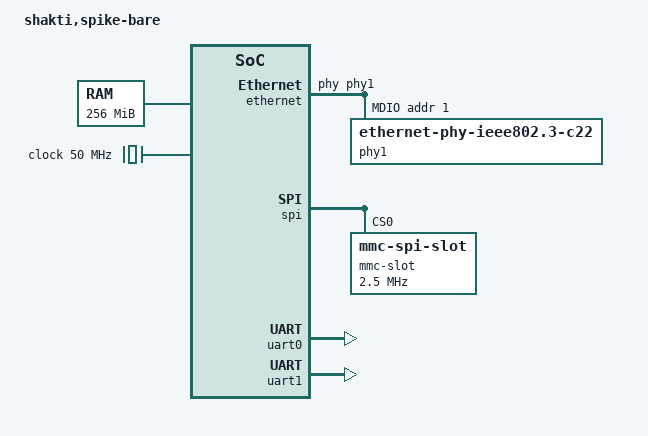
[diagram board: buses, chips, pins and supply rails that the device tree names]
/dts-v1/;

/ {
  #address-cells = <2>;
  #size-cells = <2>;
  compatible = "shakti,spike-bare-dev";
  model = "shakti,spike-bare";
  cpus {
    #address-cells = <1>;
    #size-cells = <0>;
    timebase-frequency = <32768>;
    CPU0: cpu@0 {
      device_type = "cpu";
      reg = <0>;
      status = "okay";
      compatible = "riscv";
      riscv,isa = "rv64imac";
      mmu-type = "riscv,sv39";
      clock-frequency = <50000000>;
      CPU0_intc: interrupt-controller {
        #interrupt-cells = <1>;
        interrupt-controller;
        compatible = "riscv,cpu-intc";
      };
    };
  };
  memory@80000000 {
    device_type = "memory";
    reg = <0x0 0x80000000 0x0  0x10000000>;
  };
  
  soc {
    #address-cells = <2>;
    #size-cells = <2>;
    compatible = "shakti,spike-bare-soc", "simple-bus";
    ranges;
    clint:clint@2000000 {
      compatible = "riscv,clint0";
      interrupts-extended = <&CPU0_intc 3 &CPU0_intc 7 >;
      reg = <0x0 0x2000000 0x0 0xc0000>;
    };
    plic: interrupt-controller@c000000 {
      #interrupt-cells = <2>;
      compatible = "riscv,plic0";
      interrupt-controller;
      reg = <0x0 0xc000000 0x0 0x4000000>;
      interrupts-extended = <&CPU0_intc 11 &CPU0_intc 9>; //11 as to mention MACHINE MODE for CPU or 9 for SUPERVISOR MODE for CPU...
      reg-names = "control";
      riscv,max-priority = <7>;
      riscv,ndev = <29>;
    };
    ethernet: ethernet@44000{
      #address-cells = <2>;
      #size-cells = <2>;
      device_type = "network";
      compatible = "xlnx,xps-ethernetlite-3.00.a", "xlnx,xps-ethernetlite-1.00.a";
      interrupt-parent = <&plic>;
      interrupts = <29 0x1>;
      local-mac-address = [00 0a 35 00 00 00];
      phy-handle = <&phy1>;
      reg = <0x0 0x44000 0x0 0x4000>;
      xlnx,duplex = <0x1>;
      xlnx,include-global-buffers = <0x1>;
      xlnx,include-internal-loopback = <0x1>;
      xlnx,include-mdio = <0x1>;
      xlnx,instance = "axi_ethernetlite_inst";
      xlnx,rx-ping-pong = <0x1>;
      xlnx,s-axi-id-width = <0x1>;
      xlnx,tx-ping-pong = <0x1>;
      threshold = <0x40>;
      sensitivity = <6>;
      axi_ethernetlite_0_mdio: mdio {
        #address-cells = <0x1>;
        #size-cells = <0x0>;
        phy1: phy@1{
          device_type = "ethernet-phy";
          compatible = "ethernet-phy-ieee802.3-c22";
          ti,rx-internal-delay = <1000000000>;
          ti,tx-internal-delay = <1000000000>;
          ti,fifo-depth = <0x1000>;
          reg = <1>;
          status = "okay";
        };
     };
   };
   clock: oscillator {
     #clock-cells = <0>;
     compatible = "fixed-clock";
     clock-frequency = <50000000>;
   };
   spi:spi@20100{
     compatible = "shakti,spi1";
     reg = <0x0 0x20100 0x0 0x100>;
     clocks = <&clock>;			// Reference to Hardware Clock
     shakti,controller = <1>;                  // 1 for MASTER and 0 for SLAVE...
     shakti,spi-frequency = <2000000>;	// SPI Working Frequency
     shakti,lsb-first = <0x0>;                 // 1 for LSB first and 0 for MSB first... 
     shakti,communication-mode = <0x3>;        // Communication Mode 0-3 value. Other values cause the driver to fail.
     shakti,cpha = <0x0>;			 // Clock Phase
     shakti,cpol = <0x0>;			 // Clock Polarity
     shakti,cs-high = <0x1>;			// Chip-select active
     shakti,fifo-depth = <31>;			// The FIFO length value in bytes (32 level cannot be used here).
     mmc-slot@0 {
       compatible = "mmc-spi-slot";
       reg = <0>;
       voltage-ranges = <3300 3300>;
       spi-max-frequency = <2500000>;  	 // This value should be greater than shakti,spi-frequency
     };
   };
  uart0:uart@11300{                            // Driver used by OpenSBI
    compatible = "shakti,uart0";
    reg= <0x0 0x11300 0x0 0x100>;
  };
  uart1:uart@11400{                            // Disable this in Menuconfig when not using it.
    compatible = "shakti,uart1";
    reg= <0x0 0x11400 0x0 0x100>;
  };  
 };
};
